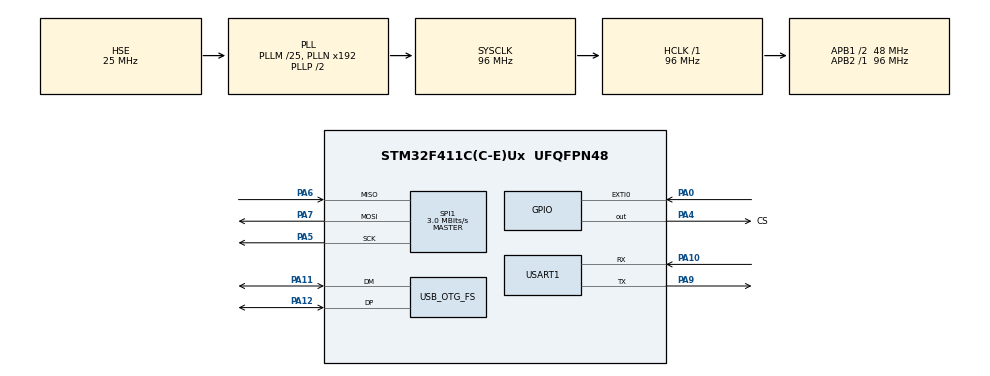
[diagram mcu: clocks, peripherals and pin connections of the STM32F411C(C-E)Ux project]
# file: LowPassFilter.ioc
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Dma.Request0=SPI1_RX
Dma.Request1=SPI1_TX
Dma.SPI1_RX.0.Direction=DMA_PERIPH_TO_MEMORY
Dma.SPI1_RX.0.FIFOMode=DMA_FIFOMODE_DISABLE
Dma.SPI1_RX.0.Instance=DMA2_Stream0
Dma.SPI1_RX.0.MemDataAlignment=DMA_MDATAALIGN_BYTE
Dma.SPI1_RX.0.MemInc=DMA_MINC_ENABLE
Dma.SPI1_RX.0.Mode=DMA_NORMAL
Dma.SPI1_RX.0.PeriphDataAlignment=DMA_PDATAALIGN_BYTE
Dma.SPI1_RX.0.PeriphInc=DMA_PINC_DISABLE
Dma.SPI1_RX.0.Priority=DMA_PRIORITY_LOW
Dma.SPI1_TX.1.Direction=DMA_MEMORY_TO_PERIPH
Dma.SPI1_TX.1.FIFOMode=DMA_FIFOMODE_DISABLE
Dma.SPI1_TX.1.Instance=DMA2_Stream2
Dma.SPI1_TX.1.MemDataAlignment=DMA_MDATAALIGN_BYTE
Dma.SPI1_TX.1.MemInc=DMA_MINC_ENABLE
Dma.SPI1_TX.1.Mode=DMA_NORMAL
Dma.SPI1_TX.1.PeriphDataAlignment=DMA_PDATAALIGN_BYTE
Dma.SPI1_TX.1.PeriphInc=DMA_PINC_DISABLE
Dma.SPI1_TX.1.Priority=DMA_PRIORITY_LOW
FATFS._USE_LABEL=1
FATFS._USE_LFN=3
Mcu.Family=STM32F4
Mcu.Name=STM32F411C(C-E)Ux
Mcu.Package=UFQFPN48
NVIC.DMA2_Stream0_IRQn=true\:0\:0\:false\:false\:true\:false\:true\:true
NVIC.DMA2_Stream2_IRQn=true\:0\:0\:false\:false\:true\:false\:true\:true
NVIC.EXTI0_IRQn=true\:0\:0\:false\:false\:true\:true\:true\:true
NVIC.OTG_FS_IRQn=true\:0\:0\:false\:false\:true\:false\:true\:true
NVIC.PriorityGroup=NVIC_PRIORITYGROUP_4
PA0-WKUP.GPIO_ModeDefaultEXTI=GPIO_MODE_IT_FALLING
PA0-WKUP.GPIO_PuPd=GPIO_PULLUP
PA0-WKUP.Signal=GPXTI0
PA10.Mode=Asynchronous
PA10.Signal=USART1_RX
PA11.Mode=Device_Only
PA11.Signal=USB_OTG_FS_DM
PA12.Mode=Device_Only
PA12.Signal=USB_OTG_FS_DP
PA13.Mode=Serial_Wire
PA13.Signal=SYS_JTMS-SWDIO
PA14.Mode=Serial_Wire
PA14.Signal=SYS_JTCK-SWCLK
PA4.GPIO_Label=CS
PA4.GPIO_Speed=GPIO_SPEED_FREQ_VERY_HIGH
PA4.PinState=GPIO_PIN_SET
PA4.Signal=GPIO_Output
PA5.Mode=Full_Duplex_Master
PA5.Signal=SPI1_SCK
PA6.Mode=Full_Duplex_Master
PA6.Signal=SPI1_MISO
PA7.Mode=Full_Duplex_Master
PA7.Signal=SPI1_MOSI
PA9.Mode=Asynchronous
PA9.Signal=USART1_TX
PH0\ -\ OSC_IN.Mode=HSE-External-Oscillator
PH0\ -\ OSC_IN.Signal=RCC_OSC_IN
PH1\ -\ OSC_OUT.Mode=HSE-External-Oscillator
PH1\ -\ OSC_OUT.Signal=RCC_OSC_OUT
ProjectManager.HeapSize=0x200
ProjectManager.StackSize=0x400
ProjectManager.TargetToolchain=STM32CubeIDE
RCC.48MHZClocksFreq_Value=48000000
RCC.AHBFreq_Value=96000000
RCC.APB1CLKDivider=RCC_HCLK_DIV2
RCC.APB1Freq_Value=48000000
RCC.APB1TimFreq_Value=96000000
RCC.APB2Freq_Value=96000000
RCC.APB2TimFreq_Value=96000000
RCC.CortexFreq_Value=96000000
RCC.HCLKFreq_Value=96000000
RCC.HSE_VALUE=25000000
RCC.HSI_VALUE=16000000
RCC.LSE_VALUE=32768
RCC.PLLM=25
RCC.SYSCLKFreq_VALUE=96000000
RCC.SYSCLKSource=RCC_SYSCLKSOURCE_PLLCLK
RCC.VCOOutputFreq_Value=192000000
SPI1.BaudRatePrescaler=SPI_BAUDRATEPRESCALER_32
SPI1.CalculateBaudRate=3.0 MBits/s
SPI1.Direction=SPI_DIRECTION_2LINES
SPI1.Mode=SPI_MODE_MASTER
SPI1.VirtualType=VM_MASTER
USART1.VirtualMode=VM_ASYNC
USB_DEVICE.CLASS_NAME_FS=CDC
USB_DEVICE.PRODUCT_STRING_CDC_FS=STM32 Virtual Port
USB_DEVICE.VirtualMode=Cdc
USB_DEVICE.VirtualModeFS=Cdc_FS
USB_OTG_FS.VirtualMode=Device_Only
VP_FATFS_VS_Generic.Mode=User_defined
VP_USB_DEVICE_VS_USB_DEVICE_CDC_FS.Mode=CDC_FS
board=custom

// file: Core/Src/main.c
/* USER CODE BEGIN Header */
/**
  ******************************************************************************
  * @file           : main.c
  * @brief          : Main program body
  ******************************************************************************
  * @attention
  *
  * Copyright (c) 2025 STMicroelectronics.
  * All rights reserved.
  *
  * This software is licensed under terms that can be found in the LICENSE file
  * in the root directory of this software component.
  * If no LICENSE file comes with this software, it is provided AS-IS.
  *
  ******************************************************************************
  */
/* USER CODE END Header */
#include "main.h"
#include "fatfs.h"
#include "usb_device.h"
//
/* USER CODE BEGIN Includes */
#include "arm_math.h"
#include "usbd_cdc_if.h"
#include "string.h"
#include "stdio.h"
#include "stdbool.h"
#include "arm_math.h"
#include "math.h"
#include "sd_functions.h"
#include "sd_benchmark.h"
#include "matlab_interface.h"
#include "firCoeffs.h"

/* USER CODE END Includes */

/* USER CODE BEGIN PTD */

#define BLOCK_SIZE 			1024
#define FIR_TAP_NUM 		128

// Select Low Pass Filter with FIR OR IIR
#define FIR_METHOD		1
#define IIR_METHOD		0
#define FILTER_M		IIR_METHOD

/* Mohsen Jahed Korime   */

/* USER CODE END PTD */

/* USER CODE BEGIN PD */

extern uint32_t R_WavDataNum;
extern uint32_t R_WavremainData;
extern uint16_t R_WavSamRat;
extern uint32_t W_WavremainData;

uint32_t NumByteRead = 0;
uint32_t NumByteWrit = 0;

bool FlagKey 			= false;
bool FalgReadyPacketRx 	= false;

WAV_StatusTypeDef ResultWave;
MAT_StatusTypeDef ResultMat;

#if FILTER_M == FIR_METHOD
	arm_fir_instance_f32 S;
#else
	arm_biquad_cascade_df2T_instance_f32 IIR;
#endif

uint8_t BufferReceive[64];

float32_t wav_buf[WAVE_DAT_RED_SIZ + 1];
float32_t wav_in[BLOCK_SIZE + 1];   // buffer to read from SD (int16)
float32_t wav_out[BLOCK_SIZE + 1];  // buffer to write to SD (int16)
float32_t firState[BLOCK_SIZE + FIR_TAP_NUM - 1];
float32_t biquadState[4 * NUM_STAGES];

//uint8_t bufr[80];
//UINT br;
/* USER CODE END PD */

SPI_HandleTypeDef hspi1;
DMA_HandleTypeDef hdma_spi1_rx;
DMA_HandleTypeDef hdma_spi1_tx;

UART_HandleTypeDef huart1;

/* USER CODE BEGIN PV */

void HAL_GPIO_EXTI_Callback(uint16_t GPIO_Pin)
{
    if(GPIO_Pin == GPIO_PIN_0) // If The INT Source Is EXTI Line9 (A9 Pin)
    {
    	FlagKey = true;
    }
}

/* USER CODE END PV */

void SystemClock_Config(void);
static void MX_GPIO_Init(void);
static void MX_DMA_Init(void);
static void MX_USART1_UART_Init(void);
static void MX_SPI1_Init(void);
/* USER CODE BEGIN PFP */

int _write(int fd, unsigned char *buf, int len) {
  if (fd == 1 || fd == 2) {                     // stdout or stderr ?
    HAL_UART_Transmit(&huart1, buf, len, 999);  // Print to the UART
  }
  return len;
}

/* USER CODE END PFP */

int main(void)
{

  /* MCU Configuration--------------------------------------------------------*/

  /* Reset of all peripherals, Initializes the Flash interface and the Systick. */
  HAL_Init();

  /* Configure the system clock */
  SystemClock_Config();

  /* Initialize all configured peripherals */
  MX_GPIO_Init();
  MX_DMA_Init();
  MX_USB_DEVICE_Init();
  MX_USART1_UART_Init();
  MX_SPI1_Init();
  /* USER CODE BEGIN 2 */

  // Filter initialization
  #if FILTER_M == FIR_METHOD
  	  arm_fir_init_f32(&S, FIR_TAP_NUM, (float32_t *)firCoeffs, firState, BLOCK_SIZE);
  #else
  	  arm_biquad_cascade_df2T_init_f32(&IIR, NUM_STAGES, (float32_t *)biquadCoeffs, (float32_t *)biquadState);
  #endif

  sd_unmount();

  /* USER CODE END 2 */

  /* Infinite loop */
  /* USER CODE BEGIN WHILE */
  while (1)
  {

	  while(FlagKey)
	  {

		  sd_mount();
		  // Open recording file
		  ResultWave = WAVFIL_Start_Read( "Recording_8.wav");
		  if(ResultWave != WAV_OK){
			  break;
			  FlagKey = false;
		  }

		  // Create a new wave file
		  #if FILTER_M == FIR_METHOD
		  	  ResultWave = WAVFIL_Start_Write("LPF_FIR.wav", R_WavremainData, 22050);
		  	if(ResultWave != WAV_OK){
		  		break;
		  		FlagKey = false;
		  	}
		  #else
		  	  ResultWave = WAVFIL_Start_Write("LPF_IIR.wav", R_WavremainData, 22050);
		  	if(ResultWave != WAV_OK){
		  		break;
		  		FlagKey = false;
		  	}
		  #endif

		  // Give data from wave file in the sd card
		  WAVFIL_Catch_Data(wav_in, &NumByteRead);
		  if(ResultWave != WAV_OK){
			  break;
			  FlagKey = false;
		  }

		  // Trying to connect to MATLAB on the PC
		  ResultMat = MAT_Connect(22050, 32767, NumByteRead);
		  if(ResultMat != MAT_OK){
			  break;
			  FlagKey = false;
		  }

		  // Apply Low Pass Filter
		  #if FILTER_M == FIR_METHOD
		  	  arm_fir_f32(&S, wav_in, wav_out, NumByteRead);
		  #else
		  	  arm_biquad_cascade_df2T_f32(&IIR, wav_in, wav_out, BLOCK_SIZE);
		  #endif

		  // Storing Filtered data in the sd card
		  ResultWave = WAVFIL_Give_Write(wav_out);
		  if(ResultWave != WAV_OK){
			  break;
			  FlagKey = false;
		  }

		  // Send Filtered data to MATLAB
		  ResultMat = MAT_SendSamples(wav_out, NumByteRead, 32767.5f);
		  if(ResultMat != MAT_OK){
			  break;
			  FlagKey = false;
		  }

		  // We need to continue this until the end of the wavw recording file.
		  while(R_WavremainData != 0){

			  // Give data from wave file in the sd card
			  ResultWave = WAVFIL_Catch_Data(wav_in, &NumByteRead);
			  if(ResultWave != WAV_OK){
				  break;
				  FlagKey = false;
			  }

			  // Apply Low Pass Filter
			  #if FILTER_M == FIR_METHOD
				  arm_fir_f32(&S, wav_in, wav_out, NumByteRead);
			  #else
				  arm_biquad_cascade_df2T_f32(&IIR, wav_in, wav_out, BLOCK_SIZE);
			  #endif

			  // Send Filtered data to MATLAB
			  ResultMat = MAT_SendSamples(wav_out, NumByteRead, 32767.5f);
			  if(ResultMat != MAT_OK){
				  break;
				  FlagKey = false;
			  }

			  // Storing Filtered data in the sd card
			  ResultWave = WAVFIL_Give_Write(wav_out);
			  if(ResultWave != WAV_OK){
				  break;
				  FlagKey = false;
			  }
		  }
		  // Send to MATLAB end signal.
		  MAT_EndSignal();
		  // Close the wave recording file.
		  ResultWave = WAVFIL_End_Read();
		  // Close the new wave filtered file.
		  ResultWave = WAVFIL_End_Write();
		  // Don't come back to this loop before pressing the bottom.
		  FlagKey = false;
	  }

    /* USER CODE END WHILE */

  }
}

void SystemClock_Config(void)
{
  RCC_OscInitTypeDef RCC_OscInitStruct = {0};
  RCC_ClkInitTypeDef RCC_ClkInitStruct = {0};

  /** Configure the main internal regulator output voltage
  */
  __HAL_RCC_PWR_CLK_ENABLE();
  __HAL_PWR_VOLTAGESCALING_CONFIG(PWR_REGULATOR_VOLTAGE_SCALE1);

  /** Initializes the RCC Oscillators according to the specified parameters
  * in the RCC_OscInitTypeDef structure.
  */
  RCC_OscInitStruct.OscillatorType = RCC_OSCILLATORTYPE_HSE;
  RCC_OscInitStruct.HSEState = RCC_HSE_ON;
  RCC_OscInitStruct.PLL.PLLState = RCC_PLL_ON;
  RCC_OscInitStruct.PLL.PLLSource = RCC_PLLSOURCE_HSE;
  RCC_OscInitStruct.PLL.PLLM = 25;
  RCC_OscInitStruct.PLL.PLLN = 192;
  RCC_OscInitStruct.PLL.PLLP = RCC_PLLP_DIV2;
  RCC_OscInitStruct.PLL.PLLQ = 4;
  if (HAL_RCC_OscConfig(&RCC_OscInitStruct) != HAL_OK)
  {
    Error_Handler();
  }

  /** Initializes the CPU, AHB and APB buses clocks
  */
  RCC_ClkInitStruct.ClockType = RCC_CLOCKTYPE_HCLK|RCC_CLOCKTYPE_SYSCLK
                              |RCC_CLOCKTYPE_PCLK1|RCC_CLOCKTYPE_PCLK2;
  RCC_ClkInitStruct.SYSCLKSource = RCC_SYSCLKSOURCE_PLLCLK;
  RCC_ClkInitStruct.AHBCLKDivider = RCC_SYSCLK_DIV1;
  RCC_ClkInitStruct.APB1CLKDivider = RCC_HCLK_DIV2;
  RCC_ClkInitStruct.APB2CLKDivider = RCC_HCLK_DIV1;

  if (HAL_RCC_ClockConfig(&RCC_ClkInitStruct, FLASH_LATENCY_3) != HAL_OK)
  {
    Error_Handler();
  }
}

static void MX_SPI1_Init(void)
{

  /* SPI1 parameter configuration*/
  hspi1.Instance = SPI1;
  hspi1.Init.Mode = SPI_MODE_MASTER;
  hspi1.Init.Direction = SPI_DIRECTION_2LINES;
  hspi1.Init.DataSize = SPI_DATASIZE_8BIT;
  hspi1.Init.CLKPolarity = SPI_POLARITY_LOW;
  hspi1.Init.CLKPhase = SPI_PHASE_1EDGE;
  hspi1.Init.NSS = SPI_NSS_SOFT;
  hspi1.Init.BaudRatePrescaler = SPI_BAUDRATEPRESCALER_32;
  hspi1.Init.FirstBit = SPI_FIRSTBIT_MSB;
  hspi1.Init.TIMode = SPI_TIMODE_DISABLE;
  hspi1.Init.CRCCalculation = SPI_CRCCALCULATION_DISABLE;
  hspi1.Init.CRCPolynomial = 10;
  if (HAL_SPI_Init(&hspi1) != HAL_OK)
  {
    Error_Handler();
  }

}

static void MX_USART1_UART_Init(void)
{

  huart1.Instance = USART1;
  huart1.Init.BaudRate = 115200;
  huart1.Init.WordLength = UART_WORDLENGTH_8B;
  huart1.Init.StopBits = UART_STOPBITS_1;
  huart1.Init.Parity = UART_PARITY_NONE;
  huart1.Init.Mode = UART_MODE_TX_RX;
  huart1.Init.HwFlowCtl = UART_HWCONTROL_NONE;
  huart1.Init.OverSampling = UART_OVERSAMPLING_16;
  if (HAL_UART_Init(&huart1) != HAL_OK)
  {
    Error_Handler();
  }

}

static void MX_DMA_Init(void)
{

  /* DMA controller clock enable */
  __HAL_RCC_DMA2_CLK_ENABLE();

  /* DMA interrupt init */
  /* DMA2_Stream0_IRQn interrupt configuration */
  HAL_NVIC_SetPriority(DMA2_Stream0_IRQn, 0, 0);
  HAL_NVIC_EnableIRQ(DMA2_Stream0_IRQn);
  /* DMA2_Stream2_IRQn interrupt configuration */
  HAL_NVIC_SetPriority(DMA2_Stream2_IRQn, 0, 0);
  HAL_NVIC_EnableIRQ(DMA2_Stream2_IRQn);

}

static void MX_GPIO_Init(void)
{
  GPIO_InitTypeDef GPIO_InitStruct = {0};

  /* GPIO Ports Clock Enable */
  __HAL_RCC_GPIOH_CLK_ENABLE();
  __HAL_RCC_GPIOA_CLK_ENABLE();

  /*Configure GPIO pin Output Level */
  HAL_GPIO_WritePin(CS_GPIO_Port, CS_Pin, GPIO_PIN_SET);

  /*Configure GPIO pin : PA0 */
  GPIO_InitStruct.Pin = GPIO_PIN_0;
  GPIO_InitStruct.Mode = GPIO_MODE_IT_FALLING;
  GPIO_InitStruct.Pull = GPIO_PULLUP;
  HAL_GPIO_Init(GPIOA, &GPIO_InitStruct);

  /*Configure GPIO pin : CS_Pin */
  GPIO_InitStruct.Pin = CS_Pin;
  GPIO_InitStruct.Mode = GPIO_MODE_OUTPUT_PP;
  GPIO_InitStruct.Pull = GPIO_NOPULL;
  GPIO_InitStruct.Speed = GPIO_SPEED_FREQ_VERY_HIGH;
  HAL_GPIO_Init(CS_GPIO_Port, &GPIO_InitStruct);

  /* EXTI interrupt init*/
  HAL_NVIC_SetPriority(EXTI0_IRQn, 0, 0);
  HAL_NVIC_EnableIRQ(EXTI0_IRQn);

}

void Error_Handler(void)
{
  __disable_irq();
  while (1)
  {
  }
}
